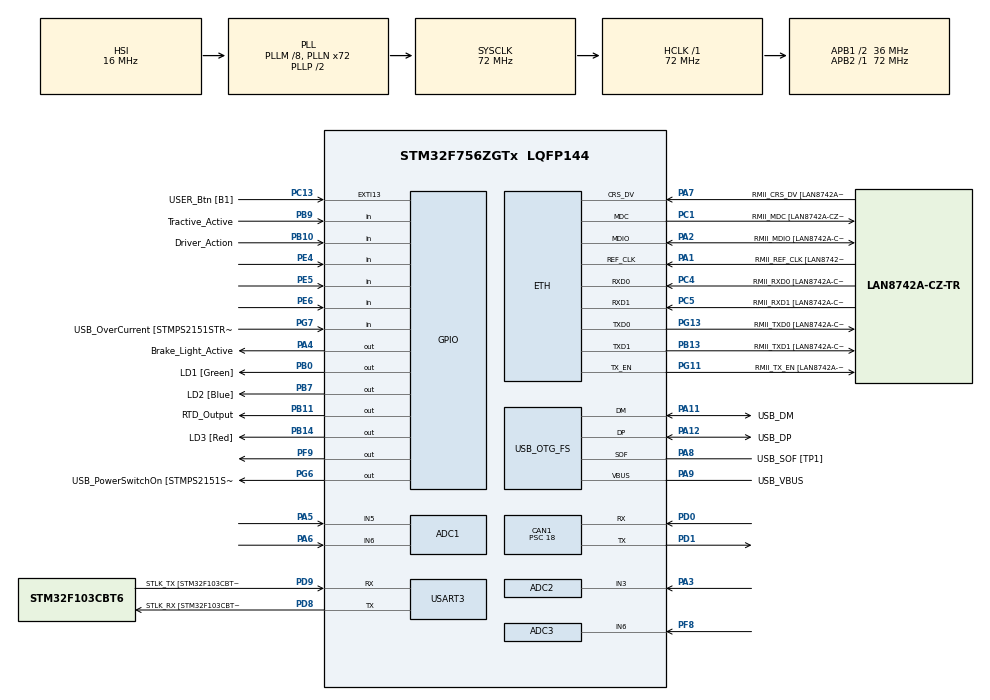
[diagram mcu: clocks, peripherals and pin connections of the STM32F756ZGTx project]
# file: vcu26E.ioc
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ADC1.Channel-0\#ChannelRegularConversion=ADC_CHANNEL_5
ADC1.Channel-1\#ChannelRegularConversion=ADC_CHANNEL_6
ADC1.ClockPrescaler=ADC_CLOCK_SYNC_PCLK_DIV4
ADC1.ContinuousConvMode=DISABLE
ADC1.DiscontinuousConvMode=ENABLE
ADC1.EOCSelection=ADC_EOC_SINGLE_CONV
ADC1.NbrOfConversion=2
ADC1.NbrOfConversionFlag=1
ADC1.Rank-0\#ChannelRegularConversion=1
ADC1.Rank-1\#ChannelRegularConversion=2
ADC1.SamplingTime-0\#ChannelRegularConversion=ADC_SAMPLETIME_15CYCLES
ADC1.SamplingTime-1\#ChannelRegularConversion=ADC_SAMPLETIME_15CYCLES
ADC1.ScanConvMode=ADC_SCAN_ENABLE
ADC1.master=1
ADC2.Channel-3\#ChannelRegularConversion=ADC_CHANNEL_3
ADC2.ClockPrescaler=ADC_CLOCK_SYNC_PCLK_DIV4
ADC2.NbrOfConversionFlag=1
ADC2.Rank-3\#ChannelRegularConversion=1
ADC2.SamplingTime-3\#ChannelRegularConversion=ADC_SAMPLETIME_3CYCLES
ADC3.Channel-0\#ChannelRegularConversion=ADC_CHANNEL_6
ADC3.ClockPrescaler=ADC_CLOCK_SYNC_PCLK_DIV4
ADC3.NbrOfConversionFlag=1
CAN1.ABOM=ENABLE
CAN1.AWUM=DISABLE
CAN1.BS1=CAN_BS1_2TQ
CAN1.CalculateBaudRate=500000
CAN1.CalculateTimeBit=2000
CAN1.CalculateTimeQuantum=500.0
CAN1.NART=DISABLE
CAN1.Prescaler=18
ETH.MediaInterface=HAL_ETH_RMII_MODE
ETH.PHY_Name=LAN8742A_PHY_ADDRESS
ETH.PHY_Value=0
ETH.PhyAddress=0
Mcu.Family=STM32F7
Mcu.Name=STM32F756ZGTx
Mcu.Package=LQFP144
NVIC.PriorityGroup=NVIC_PRIORITYGROUP_4
PA1.GPIO_Label=RMII_REF_CLK [LAN8742A-CZ-TR_REFCLK0]
PA1.Mode=RMII
PA1.Signal=ETH_REF_CLK
PA10.GPIO_Label=USB_ID
PA10.Signal=USB_OTG_FS_ID
PA11.GPIO_Label=USB_DM
PA11.Mode=Device_Only
PA11.Signal=USB_OTG_FS_DM
PA12.GPIO_Label=USB_DP
PA12.Mode=Device_Only
PA12.Signal=USB_OTG_FS_DP
PA13.GPIO_Label=TMS
PA13.Mode=Serial_Wire
PA13.Signal=SYS_JTMS-SWDIO
PA14.GPIO_Label=TCK
PA14.Mode=Serial_Wire
PA14.Signal=SYS_JTCK-SWCLK
PA2.GPIO_Label=RMII_MDIO [LAN8742A-CZ-TR_MDIO]
PA2.Mode=RMII
PA2.Signal=ETH_MDIO
PA3.Signal=ADCx_IN3
PA4.GPIO_Label=Brake_Light_Active
PA4.Signal=GPIO_Output
PA5.Signal=ADCx_IN5
PA6.Signal=ADCx_IN6
PA7.GPIO_Label=RMII_CRS_DV [LAN8742A-CZ-TR_CRS_DV]
PA7.Mode=RMII
PA7.Signal=ETH_CRS_DV
PA8.GPIO_Label=USB_SOF [TP1]
PA8.Mode=Activate_SOF_FS
PA8.Signal=USB_OTG_FS_SOF
PA9.GPIO_Label=USB_VBUS
PA9.Mode=Activate_VBUS
PA9.Signal=USB_OTG_FS_VBUS
PB0.GPIO_Label=LD1 [Green]
PB0.Signal=GPIO_Output
PB10.GPIO_Label=Driver_Action
PB10.GPIO_PuPd=GPIO_PULLUP
PB10.Signal=GPIO_Input
PB11.GPIO_Label=RTD_Output
PB11.Signal=GPIO_Output
PB13.GPIO_Label=RMII_TXD1 [LAN8742A-CZ-TR_TXD1]
PB13.Mode=RMII
PB13.Signal=ETH_TXD1
PB14.GPIO_Label=LD3 [Red]
PB14.Signal=GPIO_Output
PB3.GPIO_Label=SW0
PB3.Signal=SYS_JTDO-SWO
PB7.GPIO_Label=LD2 [Blue]
PB7.Signal=GPIO_Output
PB8.Signal=I2C1_SCL
PB9.GPIO_Label=Tractive_Active
PB9.Signal=GPIO_Input
PC1.GPIO_Label=RMII_MDC [LAN8742A-CZ-TR_MDC]
PC1.Mode=RMII
PC1.Signal=ETH_MDC
PC13.GPIO_Label=USER_Btn [B1]
PC13.Signal=GPXTI13
PC14/OSC32_IN.Mode=LSE-External-Oscillator
PC14/OSC32_IN.Signal=RCC_OSC32_IN
PC15/OSC32_OUT.Mode=LSE-External-Oscillator
PC15/OSC32_OUT.Signal=RCC_OSC32_OUT
PC4.GPIO_Label=RMII_RXD0 [LAN8742A-CZ-TR_RXD0]
PC4.Mode=RMII
PC4.Signal=ETH_RXD0
PC5.GPIO_Label=RMII_RXD1 [LAN8742A-CZ-TR_RXD1]
PC5.Mode=RMII
PC5.Signal=ETH_RXD1
PD0.Mode=CAN_Activate
PD0.Signal=CAN1_RX
PD1.Mode=CAN_Activate
PD1.Signal=CAN1_TX
PD8.GPIO_Label=STLK_RX [STM32F103CBT6_PA3]
PD8.Mode=Asynchronous
PD8.Signal=USART3_TX
PD9.GPIO_Label=STLK_TX [STM32F103CBT6_PA2]
PD9.Mode=Asynchronous
PD9.Signal=USART3_RX
PE4.Signal=GPIO_Input
PE5.Signal=GPIO_Input
PE6.Signal=GPIO_Input
PF8.GPIO_Mode=GPIO_MODE_ANALOG
PF8.GPIO_PuPd=GPIO_NOPULL
PF8.Mode=IN6
PF8.Signal=ADC3_IN6
PF9.Signal=GPIO_Output
PG11.GPIO_Label=RMII_TX_EN [LAN8742A-CZ-TR_TXEN]
PG11.Mode=RMII
PG11.Signal=ETH_TX_EN
PG13.GPIO_Label=RMII_TXD0 [LAN8742A-CZ-TR_TXD0]
PG13.Mode=RMII
PG13.Signal=ETH_TXD0
PG6.GPIO_Label=USB_PowerSwitchOn [STMPS2151STR_EN]
PG6.Signal=GPIO_Output
PG7.GPIO_Label=USB_OverCurrent [STMPS2151STR_FAULT]
PG7.Signal=GPIO_Input
PH0/OSC_IN.GPIO_Label=MCO [STM32F103CBT6_PA8]
PH0/OSC_IN.Signal=RCC_OSC_IN
PH1/OSC_OUT.Signal=RCC_OSC_OUT
ProjectManager.HeapSize=0x200
ProjectManager.StackSize=0x400
ProjectManager.TargetToolchain=STM32CubeIDE
RCC.48MHZClocksFreq_Value=24000000
RCC.AHBFreq_Value=72000000
RCC.APB1CLKDivider=RCC_HCLK_DIV2
RCC.APB1Freq_Value=36000000
RCC.APB1TimFreq_Value=72000000
RCC.APB2Freq_Value=72000000
RCC.APB2TimFreq_Value=72000000
RCC.CortexFreq_Value=72000000
RCC.HCLKFreq_Value=72000000
RCC.HSE_VALUE=8000000
RCC.HSI_VALUE=16000000
RCC.PLLM=8
RCC.PLLMUL=RCC_PLL_MUL9
RCC.PLLN=72
RCC.PLLQ=4
RCC.PLLSource=RCC_PLLSOURCE_HSI
RCC.PLLSourceVirtualString=RCC_PLLSOURCE_HSI
RCC.PRESCALERUSB=RCC_USBCLKSOURCE_PLL_DIV1_5
RCC.SYSCLKFreq_VALUE=72000000
RCC.SYSCLKSource=RCC_SYSCLKSOURCE_PLLCLK
RCC.SYSCLKSourceVirtual=RCC_SYSCLKSOURCE_PLLCLK
RCC.USBFreq_Value=36000000
RCC.VCOOutputFreq_Value=144000000
SH.ADCx_IN3.0=ADC2_IN3,IN3
SH.ADCx_IN5.0=ADC1_IN5,IN5
SH.ADCx_IN6.0=ADC1_IN6,IN6
USART3.VirtualMode-Asynchronous=VM_ASYNC
USB_OTG_FS.VirtualMode=Device_Only
board=NUCLEO-F756ZG

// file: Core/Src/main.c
/* USER CODE BEGIN Header */
/**
  ******************************************************************************
  * @file           : main.c
  * @brief          : Main program body
  ******************************************************************************
  * @attention
  *
  * Copyright (c) 2025 STMicroelectronics.
  * All rights reserved.
  *
  * This software is licensed under terms that can be found in the LICENSE file
  * in the root directory of this software component.
  * If no LICENSE file comes with this software, it is provided AS-IS.
  *
  ******************************************************************************
  */
/* USER CODE END Header */
#include "main.h"
#include "string.h"

#if defined ( __ICCARM__ ) /*!< IAR Compiler */
#pragma location=0x2004c000
ETH_DMADescTypeDef  DMARxDscrTab[ETH_RX_DESC_CNT]; /* Ethernet Rx DMA Descriptors */
#pragma location=0x2004c0a0
ETH_DMADescTypeDef  DMATxDscrTab[ETH_TX_DESC_CNT]; /* Ethernet Tx DMA Descriptors */

#elif defined ( __CC_ARM )  /* MDK ARM Compiler */

__attribute__((at(0x2004c000))) ETH_DMADescTypeDef  DMARxDscrTab[ETH_RX_DESC_CNT]; /* Ethernet Rx DMA Descriptors */
__attribute__((at(0x2004c0a0))) ETH_DMADescTypeDef  DMATxDscrTab[ETH_TX_DESC_CNT]; /* Ethernet Tx DMA Descriptors */

#elif defined ( __GNUC__ ) /* GNU Compiler */

ETH_DMADescTypeDef DMARxDscrTab[ETH_RX_DESC_CNT] __attribute__((section(".RxDecripSection"))); /* Ethernet Rx DMA Descriptors */
ETH_DMADescTypeDef DMATxDscrTab[ETH_TX_DESC_CNT] __attribute__((section(".TxDecripSection")));   /* Ethernet Tx DMA Descriptors */
#endif

ETH_TxPacketConfig TxConfig;

ADC_HandleTypeDef hadc1;
ADC_HandleTypeDef hadc2;
ADC_HandleTypeDef hadc3;

CAN_HandleTypeDef hcan1;

ETH_HandleTypeDef heth;

UART_HandleTypeDef huart3;

PCD_HandleTypeDef hpcd_USB_OTG_FS;

/* USER CODE BEGIN PV */
// Plausibility timers
Timer appsTimer = {0};
Timer bseTimer = {0};

bool implausibilityTriggered =  0;
bool pedalFaultTriggered = 		0;
bool brakesActivated = 			0;

CAN_RxHeaderTypeDef RxHeader;
uint8_t RxData[8];

char RTDReady = 0;

float appsRaw;
float bseRaw;
float appsFiltered;

float torqueCommand;
float bseGradient;

float apps1Debug;
float apps2Debug;

float APPSData[2];
uint32_t counter = 0;

/* USER CODE END PV */

void SystemClock_Config(void);
static void MX_GPIO_Init(void);
static void MX_ETH_Init(void);
static void MX_USART3_UART_Init(void);
static void MX_USB_OTG_FS_PCD_Init(void);
static void MX_ADC1_Init(void);
static void MX_CAN1_Init(void);
static void MX_ADC3_Init(void);
static void MX_ADC2_Init(void);

int main(void)
{

  /* MCU Configuration--------------------------------------------------------*/

  /* Reset of all peripherals, Initializes the Flash interface and the Systick. */
  HAL_Init();

  /* Configure the system clock */
  SystemClock_Config();

  /* Initialize all configured peripherals */
  MX_GPIO_Init();
  MX_ETH_Init();
  MX_USART3_UART_Init();
  MX_USB_OTG_FS_PCD_Init();
  MX_ADC1_Init();
  MX_CAN1_Init();
  MX_ADC3_Init();
  MX_ADC2_Init();
  /* USER CODE BEGIN 2 */
  HAL_CAN_Start(&hcan1);
  // Activate Inverter and wait for inverter response
//  while(!InverterCheck()) {}

  Inverter_Init();
  /* USER CODE END 2 */

  /* Infinite loop */
  /* USER CODE BEGIN WHILE */

  while (1) {
	// Check if pedals are to be recalibrated
//	if (HAL_GPIO_ReadPin(USER_Btn_GPIO_Port, USER_Btn_Pin)) { RecalibratePedals(); }

	// Waits for RTDReady
//	while (RTDReady == 0) {
//		if (RTDCheck(BRAKES_ACTIVATION_THRESHOLD) == 1) {
//			RTDReady = 1;
//			Inverter_Init();
//			break;
//		}
//	}

	// Disables RTDReady if Tractive Active is no longer detected
//	if (!HAL_GPIO_ReadPin(Tractive_Active_GPIO_Port, Tractive_Active_Pin)) { RTDReady = 0; }

	// Pedals Collection
//	ADC_APPSCollection(APPSData);
//	ADC_BSECollection(&bseRaw);

	// Calculate APPS activation percentage
//	APPSData[0] = APPS_CalculateActivationPercentage(APPSData[0], 1);
//	APPSData[1] = APPS_CalculateActivationPercentage(APPSData[1], 2);

	// APPS averaging
//	appsFiltered = (APPSData[0] + APPSData[1]) / 2;
//	torqueCommand = Drive_CalculateTorqueCommand(appsFiltered);
//
//	if (bseRaw >= BRAKES_ACTIVATION_THRESHOLD) { brakesActivated = 1; }
//	else { brakesActivated = 0; }

	// Plausibility Functions
	// Returns 0 in the case of any hardware pedal faults
//	if (BSE_ImplausibilityCheck(&bseTimer, bseRaw) || APPS_ImplausibilityCheck(&appsTimer, APPSData[0], APPSData[1])) {
//		pedalFaultTriggered = 1;
//		return 0;
//	}

	// triggers an implausibility based on apps and brakes filters, recoveres after apps is below 5.0
//	if (appsFiltered >= 15.0 && brakesActivated == 0) {
//		implausibilityTriggered = 1;
//		Inverter_Process(0.0);
//		Inverter_DisableInverter();
//
//		if (appsFiltered >= 0.0f && appsFiltered <= 5.0f) {
//		  implausibilityTriggered = 0;
//		  Inverter_EnableInverter();
//		}
//	}

//	if (brakesActivated == 1) {
//		HAL_GPIO_WritePin(Brake_Light_Active_GPIO_Port, Brake_Light_Active_Pin, SET);
//		torqueCommand = 0.0;
//	}
//	else {
//		HAL_GPIO_WritePin(Brake_Light_Active_GPIO_Port, Brake_Light_Active_Pin, RESET);
//	}
	  uint32_t pot_raw_value = 0;
	  uint32_t max_pot = 4095;

	  HAL_ADC_Start(&hadc2);
	  	  if (HAL_ADC_PollForConversion(&hadc2, 10) == HAL_OK) {
	  		  pot_raw_value = HAL_ADC_GetValue(&hadc2); // 0 - 4095
	  	  }
	  	//
	  	HAL_ADC_Stop(&hadc2);

	  	// torque = 0 - 4000
	float pot_percent = (float) pot_raw_value / (float) max_pot;

	torqueCommand = 4000 * pot_percent;

	Inverter_Process(torqueCommand);
	HAL_Delay(30);

	}
    /* USER CODE END WHILE */

}

void SystemClock_Config(void)
{
  RCC_OscInitTypeDef RCC_OscInitStruct = {0};
  RCC_ClkInitTypeDef RCC_ClkInitStruct = {0};

  /** Configure LSE Drive Capability
  */
  HAL_PWR_EnableBkUpAccess();

  /** Configure the main internal regulator output voltage
  */
  __HAL_RCC_PWR_CLK_ENABLE();
  __HAL_PWR_VOLTAGESCALING_CONFIG(PWR_REGULATOR_VOLTAGE_SCALE3);

  /** Initializes the RCC Oscillators according to the specified parameters
  * in the RCC_OscInitTypeDef structure.
  */
  RCC_OscInitStruct.OscillatorType = RCC_OSCILLATORTYPE_HSI;
  RCC_OscInitStruct.HSIState = RCC_HSI_ON;
  RCC_OscInitStruct.HSICalibrationValue = RCC_HSICALIBRATION_DEFAULT;
  RCC_OscInitStruct.PLL.PLLState = RCC_PLL_ON;
  RCC_OscInitStruct.PLL.PLLSource = RCC_PLLSOURCE_HSI;
  RCC_OscInitStruct.PLL.PLLM = 8;
  RCC_OscInitStruct.PLL.PLLN = 72;
  RCC_OscInitStruct.PLL.PLLP = RCC_PLLP_DIV2;
  RCC_OscInitStruct.PLL.PLLQ = 4;
  if (HAL_RCC_OscConfig(&RCC_OscInitStruct) != HAL_OK)
  {
    Error_Handler();
  }

  /** Initializes the CPU, AHB and APB buses clocks
  */
  RCC_ClkInitStruct.ClockType = RCC_CLOCKTYPE_HCLK|RCC_CLOCKTYPE_SYSCLK
                              |RCC_CLOCKTYPE_PCLK1|RCC_CLOCKTYPE_PCLK2;
  RCC_ClkInitStruct.SYSCLKSource = RCC_SYSCLKSOURCE_PLLCLK;
  RCC_ClkInitStruct.AHBCLKDivider = RCC_SYSCLK_DIV1;
  RCC_ClkInitStruct.APB1CLKDivider = RCC_HCLK_DIV2;
  RCC_ClkInitStruct.APB2CLKDivider = RCC_HCLK_DIV1;

  if (HAL_RCC_ClockConfig(&RCC_ClkInitStruct, FLASH_LATENCY_2) != HAL_OK)
  {
    Error_Handler();
  }
}

static void MX_ADC1_Init(void)
{

  ADC_ChannelConfTypeDef sConfig = {0};

  /** Configure the global features of the ADC (Clock, Resolution, Data Alignment and number of conversion)
  */
  hadc1.Instance = ADC1;
  hadc1.Init.ClockPrescaler = ADC_CLOCK_SYNC_PCLK_DIV4;
  hadc1.Init.Resolution = ADC_RESOLUTION_12B;
  hadc1.Init.ScanConvMode = ADC_SCAN_ENABLE;
  hadc1.Init.ContinuousConvMode = DISABLE;
  hadc1.Init.DiscontinuousConvMode = ENABLE;
  hadc1.Init.NbrOfDiscConversion = 1;
  hadc1.Init.ExternalTrigConvEdge = ADC_EXTERNALTRIGCONVEDGE_NONE;
  hadc1.Init.ExternalTrigConv = ADC_SOFTWARE_START;
  hadc1.Init.DataAlign = ADC_DATAALIGN_RIGHT;
  hadc1.Init.NbrOfConversion = 2;
  hadc1.Init.DMAContinuousRequests = DISABLE;
  hadc1.Init.EOCSelection = ADC_EOC_SINGLE_CONV;
  if (HAL_ADC_Init(&hadc1) != HAL_OK)
  {
    Error_Handler();
  }

  /** Configure for the selected ADC regular channel its corresponding rank in the sequencer and its sample time.
  */
  sConfig.Channel = ADC_CHANNEL_5;
  sConfig.Rank = ADC_REGULAR_RANK_1;
  sConfig.SamplingTime = ADC_SAMPLETIME_15CYCLES;
  if (HAL_ADC_ConfigChannel(&hadc1, &sConfig) != HAL_OK)
  {
    Error_Handler();
  }

  /** Configure for the selected ADC regular channel its corresponding rank in the sequencer and its sample time.
  */
  sConfig.Channel = ADC_CHANNEL_6;
  sConfig.Rank = ADC_REGULAR_RANK_2;
  if (HAL_ADC_ConfigChannel(&hadc1, &sConfig) != HAL_OK)
  {
    Error_Handler();
  }

}

static void MX_ADC2_Init(void)
{

  ADC_ChannelConfTypeDef sConfig = {0};

  /** Configure the global features of the ADC (Clock, Resolution, Data Alignment and number of conversion)
  */
  hadc2.Instance = ADC2;
  hadc2.Init.ClockPrescaler = ADC_CLOCK_SYNC_PCLK_DIV4;
  hadc2.Init.Resolution = ADC_RESOLUTION_12B;
  hadc2.Init.ScanConvMode = ADC_SCAN_DISABLE;
  hadc2.Init.ContinuousConvMode = DISABLE;
  hadc2.Init.DiscontinuousConvMode = DISABLE;
  hadc2.Init.ExternalTrigConvEdge = ADC_EXTERNALTRIGCONVEDGE_NONE;
  hadc2.Init.ExternalTrigConv = ADC_SOFTWARE_START;
  hadc2.Init.DataAlign = ADC_DATAALIGN_RIGHT;
  hadc2.Init.NbrOfConversion = 1;
  hadc2.Init.DMAContinuousRequests = DISABLE;
  hadc2.Init.EOCSelection = ADC_EOC_SINGLE_CONV;
  if (HAL_ADC_Init(&hadc2) != HAL_OK)
  {
    Error_Handler();
  }

  /** Configure for the selected ADC regular channel its corresponding rank in the sequencer and its sample time.
  */
  sConfig.Channel = ADC_CHANNEL_3;
  sConfig.Rank = ADC_REGULAR_RANK_1;
  sConfig.SamplingTime = ADC_SAMPLETIME_3CYCLES;
  if (HAL_ADC_ConfigChannel(&hadc2, &sConfig) != HAL_OK)
  {
    Error_Handler();
  }

}

static void MX_ADC3_Init(void)
{

  ADC_ChannelConfTypeDef sConfig = {0};

  /** Configure the global features of the ADC (Clock, Resolution, Data Alignment and number of conversion)
  */
  hadc3.Instance = ADC3;
  hadc3.Init.ClockPrescaler = ADC_CLOCK_SYNC_PCLK_DIV4;
  hadc3.Init.Resolution = ADC_RESOLUTION_12B;
  hadc3.Init.ScanConvMode = ADC_SCAN_DISABLE;
  hadc3.Init.ContinuousConvMode = DISABLE;
  hadc3.Init.DiscontinuousConvMode = DISABLE;
  hadc3.Init.ExternalTrigConvEdge = ADC_EXTERNALTRIGCONVEDGE_NONE;
  hadc3.Init.ExternalTrigConv = ADC_SOFTWARE_START;
  hadc3.Init.DataAlign = ADC_DATAALIGN_RIGHT;
  hadc3.Init.NbrOfConversion = 1;
  hadc3.Init.DMAContinuousRequests = DISABLE;
  hadc3.Init.EOCSelection = ADC_EOC_SINGLE_CONV;
  if (HAL_ADC_Init(&hadc3) != HAL_OK)
  {
    Error_Handler();
  }

  /** Configure for the selected ADC regular channel its corresponding rank in the sequencer and its sample time.
  */
  sConfig.Channel = ADC_CHANNEL_6;
  sConfig.Rank = ADC_REGULAR_RANK_1;
  sConfig.SamplingTime = ADC_SAMPLETIME_3CYCLES;
  if (HAL_ADC_ConfigChannel(&hadc3, &sConfig) != HAL_OK)
  {
    Error_Handler();
  }

}

static void MX_CAN1_Init(void)
{

  hcan1.Instance = CAN1;
  hcan1.Init.Prescaler = 18;
  hcan1.Init.Mode = CAN_MODE_NORMAL;
  hcan1.Init.SyncJumpWidth = CAN_SJW_1TQ;
  hcan1.Init.TimeSeg1 = CAN_BS1_2TQ;
  hcan1.Init.TimeSeg2 = CAN_BS2_1TQ;
  hcan1.Init.TimeTriggeredMode = DISABLE;
  hcan1.Init.AutoBusOff = ENABLE;
  hcan1.Init.AutoWakeUp = DISABLE;
  hcan1.Init.AutoRetransmission = DISABLE;
  hcan1.Init.ReceiveFifoLocked = DISABLE;
  hcan1.Init.TransmitFifoPriority = DISABLE;
  if (HAL_CAN_Init(&hcan1) != HAL_OK)
  {
    Error_Handler();
  }
  /* USER CODE BEGIN CAN1_Init 2 */

  	CAN_FilterTypeDef canfilterconfig;

    canfilterconfig.FilterMode = CAN_FILTERMODE_IDLIST;
    canfilterconfig.FilterScale = CAN_FILTERSCALE_16BIT;
    canfilterconfig.FilterFIFOAssignment = CAN_RX_FIFO0;
    canfilterconfig.FilterActivation = ENABLE;

    // inverter status can messages
    canfilterconfig.FilterBank = 0;
    canfilterconfig.FilterIdHigh = 0x0AA << 5;
    canfilterconfig.FilterIdLow = 0x000;
    canfilterconfig.FilterMaskIdHigh = 0xFFFF;
    canfilterconfig.FilterMaskIdLow = 0xFFFF;

    HAL_CAN_ConfigFilter(&hcan1, &canfilterconfig);

  /* USER CODE END CAN1_Init 2 */

}

static void MX_ETH_Init(void)
{

   static uint8_t MACAddr[6];

  heth.Instance = ETH;
  MACAddr[0] = 0x00;
  MACAddr[1] = 0x80;
  MACAddr[2] = 0xE1;
  MACAddr[3] = 0x00;
  MACAddr[4] = 0x00;
  MACAddr[5] = 0x00;
  heth.Init.MACAddr = &MACAddr[0];
  heth.Init.MediaInterface = HAL_ETH_RMII_MODE;
  heth.Init.TxDesc = DMATxDscrTab;
  heth.Init.RxDesc = DMARxDscrTab;
  heth.Init.RxBuffLen = 1524;

  if (HAL_ETH_Init(&heth) != HAL_OK)
  {
    Error_Handler();
  }

  memset(&TxConfig, 0 , sizeof(ETH_TxPacketConfig));
  TxConfig.Attributes = ETH_TX_PACKETS_FEATURES_CSUM | ETH_TX_PACKETS_FEATURES_CRCPAD;
  TxConfig.ChecksumCtrl = ETH_CHECKSUM_IPHDR_PAYLOAD_INSERT_PHDR_CALC;
  TxConfig.CRCPadCtrl = ETH_CRC_PAD_INSERT;

}

static void MX_USART3_UART_Init(void)
{

  huart3.Instance = USART3;
  huart3.Init.BaudRate = 115200;
  huart3.Init.WordLength = UART_WORDLENGTH_8B;
  huart3.Init.StopBits = UART_STOPBITS_1;
  huart3.Init.Parity = UART_PARITY_NONE;
  huart3.Init.Mode = UART_MODE_TX_RX;
  huart3.Init.HwFlowCtl = UART_HWCONTROL_NONE;
  huart3.Init.OverSampling = UART_OVERSAMPLING_16;
  huart3.Init.OneBitSampling = UART_ONE_BIT_SAMPLE_DISABLE;
  huart3.AdvancedInit.AdvFeatureInit = UART_ADVFEATURE_NO_INIT;
  if (HAL_UART_Init(&huart3) != HAL_OK)
  {
    Error_Handler();
  }

}

static void MX_USB_OTG_FS_PCD_Init(void)
{

  hpcd_USB_OTG_FS.Instance = USB_OTG_FS;
  hpcd_USB_OTG_FS.Init.dev_endpoints = 6;
  hpcd_USB_OTG_FS.Init.speed = PCD_SPEED_FULL;
  hpcd_USB_OTG_FS.Init.dma_enable = DISABLE;
  hpcd_USB_OTG_FS.Init.phy_itface = PCD_PHY_EMBEDDED;
  hpcd_USB_OTG_FS.Init.Sof_enable = ENABLE;
  hpcd_USB_OTG_FS.Init.low_power_enable = DISABLE;
  hpcd_USB_OTG_FS.Init.lpm_enable = DISABLE;
  hpcd_USB_OTG_FS.Init.vbus_sensing_enable = ENABLE;
  hpcd_USB_OTG_FS.Init.use_dedicated_ep1 = DISABLE;
  if (HAL_PCD_Init(&hpcd_USB_OTG_FS) != HAL_OK)
  {
    Error_Handler();
  }

}

static void MX_GPIO_Init(void)
{
  GPIO_InitTypeDef GPIO_InitStruct = {0};

  /* GPIO Ports Clock Enable */
  __HAL_RCC_GPIOE_CLK_ENABLE();
  __HAL_RCC_GPIOC_CLK_ENABLE();
  __HAL_RCC_GPIOF_CLK_ENABLE();
  __HAL_RCC_GPIOH_CLK_ENABLE();
  __HAL_RCC_GPIOA_CLK_ENABLE();
  __HAL_RCC_GPIOB_CLK_ENABLE();
  __HAL_RCC_GPIOD_CLK_ENABLE();
  __HAL_RCC_GPIOG_CLK_ENABLE();

  /*Configure GPIO pin Output Level */
  HAL_GPIO_WritePin(GPIOF, GPIO_PIN_9, GPIO_PIN_RESET);

  /*Configure GPIO pin Output Level */
  HAL_GPIO_WritePin(Brake_Light_Active_GPIO_Port, Brake_Light_Active_Pin, GPIO_PIN_RESET);

  /*Configure GPIO pin Output Level */
  HAL_GPIO_WritePin(GPIOB, LD1_Pin|RTD_Output_Pin|LD3_Pin|LD2_Pin, GPIO_PIN_RESET);

  /*Configure GPIO pin Output Level */
  HAL_GPIO_WritePin(USB_PowerSwitchOn_GPIO_Port, USB_PowerSwitchOn_Pin, GPIO_PIN_RESET);

  /*Configure GPIO pins : PE4 PE5 PE6 */
  GPIO_InitStruct.Pin = GPIO_PIN_4|GPIO_PIN_5|GPIO_PIN_6;
  GPIO_InitStruct.Mode = GPIO_MODE_INPUT;
  GPIO_InitStruct.Pull = GPIO_NOPULL;
  HAL_GPIO_Init(GPIOE, &GPIO_InitStruct);

  /*Configure GPIO pin : USER_Btn_Pin */
  GPIO_InitStruct.Pin = USER_Btn_Pin;
  GPIO_InitStruct.Mode = GPIO_MODE_IT_RISING;
  GPIO_InitStruct.Pull = GPIO_NOPULL;
  HAL_GPIO_Init(USER_Btn_GPIO_Port, &GPIO_InitStruct);

  /*Configure GPIO pin : PF9 */
  GPIO_InitStruct.Pin = GPIO_PIN_9;
  GPIO_InitStruct.Mode = GPIO_MODE_OUTPUT_PP;
  GPIO_InitStruct.Pull = GPIO_NOPULL;
  GPIO_InitStruct.Speed = GPIO_SPEED_FREQ_LOW;
  HAL_GPIO_Init(GPIOF, &GPIO_InitStruct);

  /*Configure GPIO pin : Brake_Light_Active_Pin */
  GPIO_InitStruct.Pin = Brake_Light_Active_Pin;
  GPIO_InitStruct.Mode = GPIO_MODE_OUTPUT_PP;
  GPIO_InitStruct.Pull = GPIO_NOPULL;
  GPIO_InitStruct.Speed = GPIO_SPEED_FREQ_LOW;
  HAL_GPIO_Init(Brake_Light_Active_GPIO_Port, &GPIO_InitStruct);

  /*Configure GPIO pins : LD1_Pin RTD_Output_Pin LD3_Pin LD2_Pin */
  GPIO_InitStruct.Pin = LD1_Pin|RTD_Output_Pin|LD3_Pin|LD2_Pin;
  GPIO_InitStruct.Mode = GPIO_MODE_OUTPUT_PP;
  GPIO_InitStruct.Pull = GPIO_NOPULL;
  GPIO_InitStruct.Speed = GPIO_SPEED_FREQ_LOW;
  HAL_GPIO_Init(GPIOB, &GPIO_InitStruct);

  /*Configure GPIO pin : Driver_Action_Pin */
  GPIO_InitStruct.Pin = Driver_Action_Pin;
  GPIO_InitStruct.Mode = GPIO_MODE_INPUT;
  GPIO_InitStruct.Pull = GPIO_PULLUP;
  HAL_GPIO_Init(Driver_Action_GPIO_Port, &GPIO_InitStruct);

  /*Configure GPIO pin : USB_PowerSwitchOn_Pin */
  GPIO_InitStruct.Pin = USB_PowerSwitchOn_Pin;
  GPIO_InitStruct.Mode = GPIO_MODE_OUTPUT_PP;
  GPIO_InitStruct.Pull = GPIO_NOPULL;
  GPIO_InitStruct.Speed = GPIO_SPEED_FREQ_LOW;
  HAL_GPIO_Init(USB_PowerSwitchOn_GPIO_Port, &GPIO_InitStruct);

  /*Configure GPIO pin : USB_OverCurrent_Pin */
  GPIO_InitStruct.Pin = USB_OverCurrent_Pin;
  GPIO_InitStruct.Mode = GPIO_MODE_INPUT;
  GPIO_InitStruct.Pull = GPIO_NOPULL;
  HAL_GPIO_Init(USB_OverCurrent_GPIO_Port, &GPIO_InitStruct);

  /*Configure GPIO pin : PB8 */
  GPIO_InitStruct.Pin = GPIO_PIN_8;
  GPIO_InitStruct.Mode = GPIO_MODE_AF_OD;
  GPIO_InitStruct.Pull = GPIO_NOPULL;
  GPIO_InitStruct.Speed = GPIO_SPEED_FREQ_VERY_HIGH;
  GPIO_InitStruct.Alternate = GPIO_AF4_I2C1;
  HAL_GPIO_Init(GPIOB, &GPIO_InitStruct);

  /*Configure GPIO pin : Tractive_Active_Pin */
  GPIO_InitStruct.Pin = Tractive_Active_Pin;
  GPIO_InitStruct.Mode = GPIO_MODE_INPUT;
  GPIO_InitStruct.Pull = GPIO_NOPULL;
  HAL_GPIO_Init(Tractive_Active_GPIO_Port, &GPIO_InitStruct);

}

void Error_Handler(void)
{
  __disable_irq();
  while (1)
  {
  }
}
